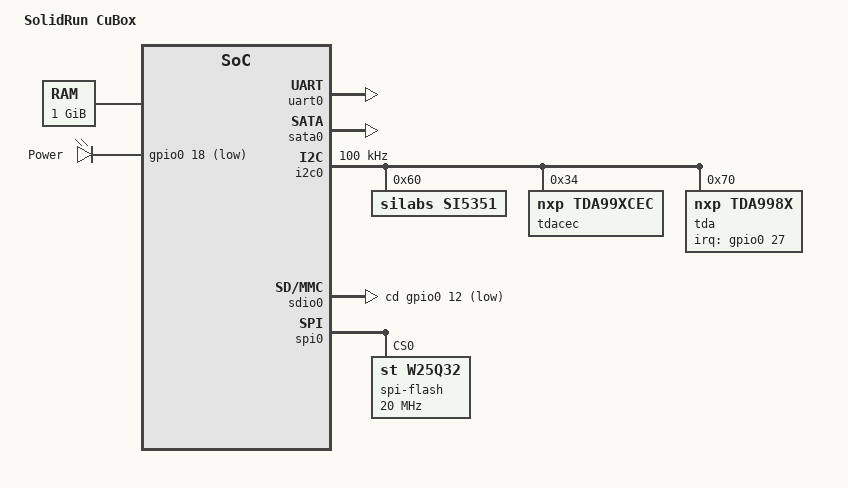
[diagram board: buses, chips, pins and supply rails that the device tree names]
/dts-v1/;

/include/ "dove.dtsi"

/ {
	model = "SolidRun CuBox";
	compatible = "solidrun,cubox", "marvell,dove";

	memory {
		device_type = "memory";
		reg = <0x00000000 0x40000000>;
	};

	chosen {
		bootargs = "console=ttyS0,115200n8 earlyprintk";
	};

	leds {
		compatible = "gpio-leds";
		power {
			label = "Power";
			gpios = <&gpio0 18 1>;
			linux,default-trigger = "default-on";
		};
	};

	/* Dove frame buffer */
	dovefb {
		compatible = "marvell,dovefb";
		interrupts = <47>;
	};
};

&uart0 { status = "okay"; };
&sata0 { status = "okay"; };

&i2c0 {
	clock-frequency = <100000>;
	status = "okay";

	/* si5351@60 from Sebastian Hesselbarth */
	si5351@60 {
		compatible = "silabs,si5351";
		reg = <0x60>;
	};

	tdacec@34 {
		compatible = "nxp,tda99Xcec";
		reg = <0x34>;
/*		interrupt-parent = <&gpio0>;
 *		interrupts = <27 2>;		 * shared interrupt */
	};
	tda@70 {
		compatible = "nxp,tda998X";	/* new: "nxp,tda998x" */
		reg = <0x70>;
		interrupt-parent = <&gpio0>;
		interrupts = <27 2>;		/* falling edge */
	};
};

&sdio0 {
	status = "okay";
	/* sdio0 card detect is connected to wrong pin on CuBox */
	cd-gpios = <&gpio0 12 1>;
};

&spi0 {
	status = "okay";

	/* spi0.0: 4M Flash Winbond W25Q32BV */
	spi-flash@0 {
		compatible = "st,w25q32";
		spi-max-frequency = <20000000>;
		reg = <0>;
	};
};

&pinctrl {
	pinctrl-0 = <&pmx_gpio_12 &pmx_gpio_18 &pmx_gpio_camera>;
	pinctrl-names = "default";

	pmx_gpio_12: pmx-gpio-12 {
		marvell,pins = "mpp12";
		marvell,function = "gpio";
	};

	pmx_gpio_18: pmx-gpio-18 {
		marvell,pins = "mpp18";
		marvell,function = "gpio";
	};

/* nxp HDMI irq on pin 27 */
	pmx_gpio_camera: pmx-gpio-camera {
		marvell,pins = "mpp_camera";
		marvell,function = "gpio";
	};
};
